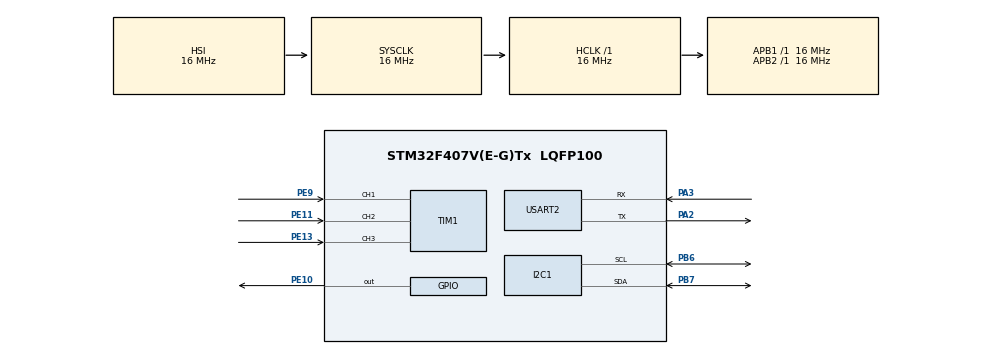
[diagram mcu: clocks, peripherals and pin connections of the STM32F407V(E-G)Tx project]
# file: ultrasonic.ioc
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Mcu.Family=STM32F4
Mcu.Name=STM32F407V(E-G)Tx
Mcu.Package=LQFP100
NVIC.PriorityGroup=NVIC_PRIORITYGROUP_4
NVIC.TIM1_CC_IRQn=true\:0\:0\:false\:false\:true\:true\:true\:true
PA2.Mode=Asynchronous
PA2.Signal=USART2_TX
PA3.Mode=Asynchronous
PA3.Signal=USART2_RX
PB6.Mode=I2C
PB6.Signal=I2C1_SCL
PB7.Mode=I2C
PB7.Signal=I2C1_SDA
PE10.Signal=GPIO_Output
PE11.Signal=S_TIM1_CH2
PE13.Signal=S_TIM1_CH3
PE9.Signal=S_TIM1_CH1
ProjectManager.HeapSize=0x200
ProjectManager.StackSize=0x400
ProjectManager.TargetToolchain=STM32CubeIDE
RCC.AHBFreq_Value=16000000
RCC.APB1Freq_Value=16000000
RCC.APB2Freq_Value=16000000
RCC.CortexFreq_Value=16000000
RCC.HSE_VALUE=25000000
RCC.HSI_VALUE=16000000
RCC.LSE_VALUE=32768
RCC.SYSCLKFreq_VALUE=16000000
RCC.VCOOutputFreq_Value=192000000
SH.S_TIM1_CH1.0=TIM1_CH1,Input_Capture1_from_TI1
SH.S_TIM1_CH2.0=TIM1_CH2,Input_Capture2_from_TI2
SH.S_TIM1_CH3.0=TIM1_CH3,Input_Capture3_from_TI3
TIM1.Channel-Input_Capture1_from_TI1=TIM_CHANNEL_1
TIM1.Channel-Input_Capture2_from_TI2=TIM_CHANNEL_2
TIM1.Channel-Input_Capture3_from_TI3=TIM_CHANNEL_3
TIM1.ICPolarity_CH1=TIM_INPUTCHANNELPOLARITY_BOTHEDGE
USART2.VirtualMode=VM_ASYNC
VP_TIM1_VS_ClockSourceINT.Mode=Internal
board=custom

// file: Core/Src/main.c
/* USER CODE BEGIN Header */
/**
  ******************************************************************************
  * @file           : main.c
  * @brief          : Main program body
  ******************************************************************************
  * @attention
  *
  * Copyright (c) 2023 STMicroelectronics.
  * All rights reserved.
  *
  * This software is licensed under terms that can be found in the LICENSE file
  * in the root directory of this software component.
  * If no LICENSE file comes with this software, it is provided AS-IS.
  *
  ******************************************************************************
  */
/* USER CODE END Header */
#include "main.h"
#include "stdio.h"

/* USER CODE BEGIN PTD */
#define usTIM TIM4
/* USER CODE END PTD */

I2C_HandleTypeDef hi2c1;

TIM_HandleTypeDef htim1;

UART_HandleTypeDef huart2;

/* USER CODE BEGIN PV */
uint8_t icFlag = 0;
uint8_t idx = 0;
uint32_t channel;
uint8_t captureIdx[3]={0,0,0};
uint32_t edge1Time[3]={0,0,0}, edge2Time[3]={0,0,0};
uint8_t tx_buffer[10];
const float speedOfSound = 0.0343/2;
uint16_t difference[3];
float distance[3];
void delay (uint16_t time)
{
	__HAL_TIM_SET_COUNTER(&htim1, 0);
	while (__HAL_TIM_GET_COUNTER (&htim1) < time);
}

int _write(int file, char *ptr, int len){
	HAL_UART_Transmit(&huart2, (uint8_t*)ptr, len, HAL_MAX_DELAY);
	return 0;
}

void echoPulse(){
	//*** START Ultrasonic measure routine ***//
	//1. Output 10 usec TRIG
	HAL_TIM_Base_Start(&htim1);
	HAL_GPIO_WritePin(TRIG_GPIO_Port, TRIG_Pin, SET);
	delay(11);
	HAL_GPIO_WritePin(TRIG_GPIO_Port, TRIG_Pin, RESET);
	HAL_TIM_Base_Stop(&htim1);

	//2. ECHO signal pulse width

	//Start IC timer
	HAL_TIM_IC_Start_IT(&htim1, TIM_CHANNEL_1);
	HAL_TIM_IC_Start_IT(&htim1, TIM_CHANNEL_2);
	HAL_TIM_IC_Start_IT(&htim1, TIM_CHANNEL_3);
	//Wait for IC flag
	uint32_t startTick = HAL_GetTick();
	do
	{
		if(icFlag > 2) break;
	}while((HAL_GetTick() - startTick) < 100);  //500ms
	HAL_TIM_IC_Stop_IT(&htim1, TIM_CHANNEL_1);
	HAL_TIM_IC_Stop_IT(&htim1, TIM_CHANNEL_2);
	HAL_TIM_IC_Stop_IT(&htim1, TIM_CHANNEL_3);
	icFlag = 0;
	for(int i = 0; i < 3; i++){
		captureIdx[i] = 0;
		//Calculate distance in cm
		if(edge2Time[i] > edge1Time[i])
		{
			difference[i] = edge2Time[i] - edge1Time[i];
			distance[i] = ((edge2Time[i] - edge1Time[i]) + 0.0f)*speedOfSound;
			//distance[i] =  (distance[i]+3.613)/14.80;
		}
		else
		{
			distance[i] = 0.0f;
			difference[i] = 0;
		}
	}
}

void HAL_TIM_IC_CaptureCallback(TIM_HandleTypeDef *htim)
{
	if(icFlag >= 3) return;
	if(htim->Channel == HAL_TIM_ACTIVE_CHANNEL_1){
		idx = 0;
		channel = TIM_CHANNEL_1;
	}else if(htim->Channel == HAL_TIM_ACTIVE_CHANNEL_2){
		idx = 1;
		channel = TIM_CHANNEL_2;
	}else if(htim->Channel == HAL_TIM_ACTIVE_CHANNEL_3){
		idx = 2;
		channel = TIM_CHANNEL_3;
	}else{
		return;
	}
	if(captureIdx[idx] == 0) //Fisrt edge
	{
		edge1Time[idx] = HAL_TIM_ReadCapturedValue(htim, channel); //__HAL_TIM_GetCounter(&htim3);//
//		printf("first edge of %d ultrasonic: %d\r\n", idx, edge1Time[idx]);
		captureIdx[idx] = 1;
		__HAL_TIM_SET_CAPTUREPOLARITY(htim, channel, TIM_INPUTCHANNELPOLARITY_FALLING);
	}
	else if(captureIdx[idx] == 1) //Second edge
	{
		edge2Time[idx] = HAL_TIM_ReadCapturedValue(htim, channel);
//		printf("second edge of %d ultrasonic: %d, icFlag: %d\r\n", idx, edge2Time[idx], icFlag);
		captureIdx[idx] = 0;
		__HAL_TIM_SET_CAPTUREPOLARITY(htim, channel, TIM_INPUTCHANNELPOLARITY_RISING);
		icFlag++;
	}
}

/* USER CODE END PV */

void SystemClock_Config(void);
static void MX_GPIO_Init(void);
static void MX_TIM1_Init(void);
static void MX_I2C1_Init(void);
static void MX_USART2_UART_Init(void);

int main(void)
{

  /* MCU Configuration--------------------------------------------------------*/

  /* Reset of all peripherals, Initializes the Flash interface and the Systick. */
  HAL_Init();

  /* Configure the system clock */
  SystemClock_Config();

  /* Initialize all configured peripherals */
  MX_GPIO_Init();
  MX_TIM1_Init();
  MX_I2C1_Init();
  MX_USART2_UART_Init();

  /* Infinite loop */
  /* USER CODE BEGIN WHILE */
  HAL_GPIO_WritePin(TRIG_GPIO_Port, TRIG_Pin, GPIO_PIN_RESET);

  while (1)
  {
    /* USER CODE END WHILE */
	  echoPulse();
	  printf("Distance 1: %f, distance 2: %f, distance 3: %f \r\n",
			  distance[0], distance[1], distance[2]);
	  HAL_Delay(1000);
  }
}

void SystemClock_Config(void)
{
  RCC_OscInitTypeDef RCC_OscInitStruct = {0};
  RCC_ClkInitTypeDef RCC_ClkInitStruct = {0};

  /** Configure the main internal regulator output voltage
  */
  __HAL_RCC_PWR_CLK_ENABLE();
  __HAL_PWR_VOLTAGESCALING_CONFIG(PWR_REGULATOR_VOLTAGE_SCALE1);

  /** Initializes the RCC Oscillators according to the specified parameters
  * in the RCC_OscInitTypeDef structure.
  */
  RCC_OscInitStruct.OscillatorType = RCC_OSCILLATORTYPE_HSI;
  RCC_OscInitStruct.HSIState = RCC_HSI_ON;
  RCC_OscInitStruct.HSICalibrationValue = RCC_HSICALIBRATION_DEFAULT;
  RCC_OscInitStruct.PLL.PLLState = RCC_PLL_NONE;
  if (HAL_RCC_OscConfig(&RCC_OscInitStruct) != HAL_OK)
  {
    Error_Handler();
  }

  /** Initializes the CPU, AHB and APB buses clocks
  */
  RCC_ClkInitStruct.ClockType = RCC_CLOCKTYPE_HCLK|RCC_CLOCKTYPE_SYSCLK
                              |RCC_CLOCKTYPE_PCLK1|RCC_CLOCKTYPE_PCLK2;
  RCC_ClkInitStruct.SYSCLKSource = RCC_SYSCLKSOURCE_HSI;
  RCC_ClkInitStruct.AHBCLKDivider = RCC_SYSCLK_DIV1;
  RCC_ClkInitStruct.APB1CLKDivider = RCC_HCLK_DIV1;
  RCC_ClkInitStruct.APB2CLKDivider = RCC_HCLK_DIV1;

  if (HAL_RCC_ClockConfig(&RCC_ClkInitStruct, FLASH_LATENCY_0) != HAL_OK)
  {
    Error_Handler();
  }
}

static void MX_I2C1_Init(void)
{

  hi2c1.Instance = I2C1;
  hi2c1.Init.ClockSpeed = 100000;
  hi2c1.Init.DutyCycle = I2C_DUTYCYCLE_2;
  hi2c1.Init.OwnAddress1 = 0;
  hi2c1.Init.AddressingMode = I2C_ADDRESSINGMODE_7BIT;
  hi2c1.Init.DualAddressMode = I2C_DUALADDRESS_DISABLE;
  hi2c1.Init.OwnAddress2 = 0;
  hi2c1.Init.GeneralCallMode = I2C_GENERALCALL_DISABLE;
  hi2c1.Init.NoStretchMode = I2C_NOSTRETCH_DISABLE;
  if (HAL_I2C_Init(&hi2c1) != HAL_OK)
  {
    Error_Handler();
  }

}

static void MX_TIM1_Init(void)
{

  TIM_ClockConfigTypeDef sClockSourceConfig = {0};
  TIM_MasterConfigTypeDef sMasterConfig = {0};
  TIM_IC_InitTypeDef sConfigIC = {0};

  htim1.Instance = TIM1;
  htim1.Init.Prescaler = 15;
  htim1.Init.CounterMode = TIM_COUNTERMODE_UP;
  htim1.Init.Period = 65535;
  htim1.Init.ClockDivision = TIM_CLOCKDIVISION_DIV1;
  htim1.Init.RepetitionCounter = 0;
  htim1.Init.AutoReloadPreload = TIM_AUTORELOAD_PRELOAD_DISABLE;
  if (HAL_TIM_Base_Init(&htim1) != HAL_OK)
  {
    Error_Handler();
  }
  sClockSourceConfig.ClockSource = TIM_CLOCKSOURCE_INTERNAL;
  if (HAL_TIM_ConfigClockSource(&htim1, &sClockSourceConfig) != HAL_OK)
  {
    Error_Handler();
  }
  if (HAL_TIM_IC_Init(&htim1) != HAL_OK)
  {
    Error_Handler();
  }
  sMasterConfig.MasterOutputTrigger = TIM_TRGO_RESET;
  sMasterConfig.MasterSlaveMode = TIM_MASTERSLAVEMODE_DISABLE;
  if (HAL_TIMEx_MasterConfigSynchronization(&htim1, &sMasterConfig) != HAL_OK)
  {
    Error_Handler();
  }
  sConfigIC.ICPolarity = TIM_INPUTCHANNELPOLARITY_BOTHEDGE;
  sConfigIC.ICSelection = TIM_ICSELECTION_DIRECTTI;
  sConfigIC.ICPrescaler = TIM_ICPSC_DIV1;
  sConfigIC.ICFilter = 0;
  if (HAL_TIM_IC_ConfigChannel(&htim1, &sConfigIC, TIM_CHANNEL_1) != HAL_OK)
  {
    Error_Handler();
  }
  sConfigIC.ICPolarity = TIM_INPUTCHANNELPOLARITY_RISING;
  if (HAL_TIM_IC_ConfigChannel(&htim1, &sConfigIC, TIM_CHANNEL_2) != HAL_OK)
  {
    Error_Handler();
  }
  if (HAL_TIM_IC_ConfigChannel(&htim1, &sConfigIC, TIM_CHANNEL_3) != HAL_OK)
  {
    Error_Handler();
  }

}

static void MX_USART2_UART_Init(void)
{

  huart2.Instance = USART2;
  huart2.Init.BaudRate = 115200;
  huart2.Init.WordLength = UART_WORDLENGTH_8B;
  huart2.Init.StopBits = UART_STOPBITS_1;
  huart2.Init.Parity = UART_PARITY_NONE;
  huart2.Init.Mode = UART_MODE_TX_RX;
  huart2.Init.HwFlowCtl = UART_HWCONTROL_NONE;
  huart2.Init.OverSampling = UART_OVERSAMPLING_16;
  if (HAL_UART_Init(&huart2) != HAL_OK)
  {
    Error_Handler();
  }

}

static void MX_GPIO_Init(void)
{
  GPIO_InitTypeDef GPIO_InitStruct = {0};

  /* GPIO Ports Clock Enable */
  __HAL_RCC_GPIOA_CLK_ENABLE();
  __HAL_RCC_GPIOE_CLK_ENABLE();
  __HAL_RCC_GPIOB_CLK_ENABLE();

  /*Configure GPIO pin Output Level */
  HAL_GPIO_WritePin(GPIOE, GPIO_PIN_10, GPIO_PIN_RESET);

  /*Configure GPIO pin : PE10 */
  GPIO_InitStruct.Pin = GPIO_PIN_10;
  GPIO_InitStruct.Mode = GPIO_MODE_OUTPUT_PP;
  GPIO_InitStruct.Pull = GPIO_NOPULL;
  GPIO_InitStruct.Speed = GPIO_SPEED_FREQ_LOW;
  HAL_GPIO_Init(GPIOE, &GPIO_InitStruct);

}

void Error_Handler(void)
{
  __disable_irq();
  while (1)
  {
  }
}
